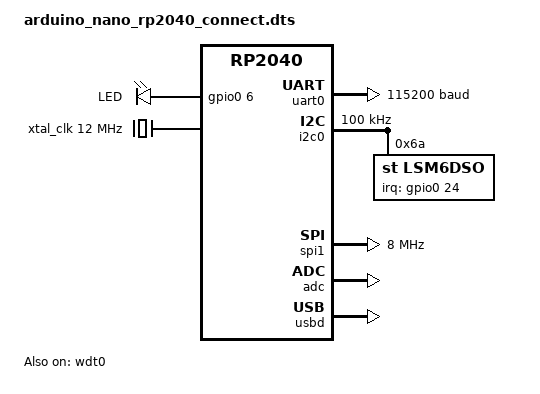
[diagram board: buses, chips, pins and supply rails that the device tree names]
/*
 * Copyright (c) 2021 Yonatan Schachter
 *
 * SPDX-License-Identifier: Apache-2.0
 */

/dts-v1/;

#include <freq.h>

#include <rpi_pico/rp2040.dtsi>
#include "arduino_nano_rp2040_connect-pinctrl.dtsi"
#include "arduino_nano_r3_connector.dtsi"
#include <zephyr/dt-bindings/pwm/pwm.h>

#include <zephyr/dt-bindings/i2c/i2c.h>

/ {
	chosen {
		zephyr,sram = &sram0;
		zephyr,flash = &flash0;
		zephyr,flash-controller = &ssi;
		zephyr,console = &uart0;
		zephyr,shell-uart = &uart0;
		zephyr,code-partition = &code_partition;
	};

	leds {
		compatible = "gpio-leds";
		led0: led_0 {
			gpios = <&gpio0 6 GPIO_ACTIVE_HIGH>;
			label = "LED";
		};
	};

	xtal_clk: xtal-clk {
		compatible = "fixed-clock";
		clock-frequency = <12000000>;
		#clock-cells = <0>;
	};

	aliases {
		led0 = &led0;
		watchdog0 = &wdt0;
	};

	pdm0: pdm_0 {
		status = "disabled";
		compatible = "zephyr,pdm-pio";
		clock-gpios = <&gpio0 23 GPIO_ACTIVE_HIGH>;
		din-gpios = <&gpio0 22 GPIO_ACTIVE_HIGH>;

		mp34dt06jtr_left: mp34dt06jtr {
			status = "disabled";
			compatible = "st,mp34dt06jtr";
		};
	};
};

&flash0 {
	reg = <0x10000000 DT_SIZE_M(16)>;

	partitions {
		compatible = "fixed-partitions";
		#address-cells = <1>;
		#size-cells = <1>;

		/* Reserved memory for the second stage bootloader */
		second_stage_bootloader: partition@0 {
			label = "second_stage_bootloader";
			reg = <0x00000000 0x100>;
			read-only;
		};

		/*
		 * Usable flash. Starts at 0x100, after the bootloader. The partition
		 * size is 16MB minus the 0x100 bytes taken by the bootloader.
		 */
		code_partition: partition@100 {
			label = "code-partition";
			reg = <0x100 (DT_SIZE_M(16) - 0x100)>;
			read-only;
		};
	};
};

&uart0 {
	current-speed = <115200>;
	status = "okay";
	pinctrl-0 = <&uart0_default>;
	pinctrl-names = "default";
};

&gpio0 {
	status = "okay";
};

&i2c0 {
	clock-frequency = <I2C_BITRATE_STANDARD>;
	status = "okay";
	pinctrl-0 = <&i2c0_default>;
	pinctrl-names = "default";

	lsm6dso@6a {
		compatible = "st,lsm6dso";
		status = "okay";
		irq-gpios = <&gpio0 24 GPIO_ACTIVE_HIGH>;
		reg = <0x6a>;
	};
};

&spi0 {
	clock-frequency = <DT_FREQ_M(8)>;
	status = "disabled";
	pinctrl-0 = <&spi0_default>;
	pinctrl-names = "default";
};

&spi1 {
	clock-frequency = <DT_FREQ_M(8)>;
	status = "okay";
	pinctrl-0 = <&spi1_default>;
	pinctrl-names = "default";

	cs-gpios = <&gpio0 9 GPIO_ACTIVE_LOW>;

	nina_w102@0 {
		compatible = "espressif,esp-at";
		status = "disabled";
		reset-gpios = <&gpio0 3 GPIO_ACTIVE_LOW>;
		reg = <0>;
	};
};


&wdt0 {
	status = "okay";
};

&adc {
	status = "okay";
	pinctrl-0 = <&adc_default>;
	pinctrl-names = "default";
};

zephyr_udc0: &usbd {
	status = "okay";
};

&vreg {
	regulator-always-on;
	regulator-allowed-modes = <REGULATOR_RPI_PICO_MODE_NORMAL>;
};
